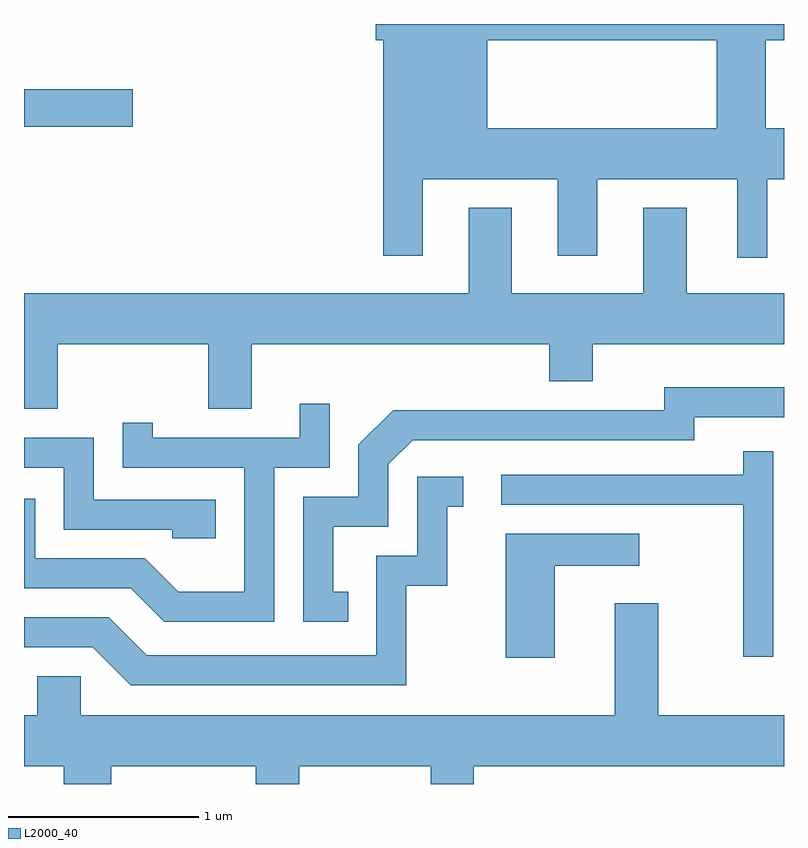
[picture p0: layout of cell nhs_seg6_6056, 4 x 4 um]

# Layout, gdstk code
import gdstk
lib = gdstk.Library(unit=1e-6, precision=1e-09)
def R(c, l, rs):  # rectangles x0, y0, x1, y1
    for r in rs: c.add(gdstk.rectangle(r[:2], r[2:], *l))
def P(c, l, *ps):  # polygons
    for p in ps: c.add(gdstk.Polygon(p, *l))
L2000_40 = (2000, 40)

nhs_seg6_6056 = lib.new_cell('nhs_seg6_6056')
R(nhs_seg6_6056, L2000_40, [(369.611,1555.621,370.184,1555.819)])
P(nhs_seg6_6056, L2000_40, [(371.709,1554.941),(371.709,1555.346),(372.421,1555.346),(372.421,1554.941),(372.629,1554.941),(372.629,1555.346),(373.366,1555.346),(373.366,1554.933),(373.524,1554.933),(373.524,1555.346),(373.611,1555.346),(373.611,1555.614),(373.514,1555.614),(373.514,1556.076),(373.611,1556.076),(373.611,1556.162),(371.461,1556.162),(371.461,1556.076),(371.501,1556.076),(371.501,1555.614),(372.049,1555.614),(372.049,1556.076),(373.256,1556.076),(373.256,1555.614),(372.049,1555.614),(371.501,1555.614),(371.501,1554.941)],
  [(369.789,1554.476),(370.581,1554.476),(370.581,1554.136),(370.809,1554.136),(370.809,1554.476),(372.376,1554.476),(372.376,1554.281),(372.604,1554.281),(372.604,1554.476),(373.611,1554.476),(373.611,1554.744),(373.099,1554.744),(373.099,1555.194),(372.871,1555.194),(372.871,1554.744),(372.179,1554.744),(372.179,1555.194),(371.951,1555.194),(371.951,1554.744),(369.611,1554.744),(369.611,1554.136),(369.789,1554.136)],
  [(371.318,1553.174),(371.239,1553.174),(371.239,1553.516),(371.529,1553.516),(371.529,1553.844),(371.657,1553.971),(373.139,1553.971),(373.139,1554.091),(373.611,1554.091),(373.611,1554.249),(372.981,1554.249),(372.981,1554.129),(371.554,1554.129),(371.371,1553.947),(371.371,1553.674),(371.081,1553.674),(371.081,1553.016),(371.318,1553.016)],
  [(370.929,1553.826),(371.219,1553.826),(371.219,1554.163),(371.061,1554.163),(371.061,1553.984),(370.289,1553.984),(370.289,1554.063),(370.131,1554.063),(370.131,1553.826),(370.771,1553.826),(370.771,1553.174),(370.422,1553.174),(370.247,1553.349),(369.669,1553.349),(369.669,1553.664),(369.611,1553.664),(369.611,1553.191),(370.174,1553.191),(370.349,1553.016),(370.929,1553.016)],
  [(370.619,1553.659),(369.979,1553.659),(369.979,1553.984),(369.611,1553.984),(369.611,1553.826),(369.821,1553.826),(369.821,1553.501),(370.391,1553.501),(370.391,1553.456),(370.619,1553.456)],
  [(373.554,1553.913),(373.396,1553.913),(373.396,1553.789),(372.123,1553.789),(372.123,1553.631),(373.396,1553.631),(373.396,1552.833),(373.554,1552.833)],
  [(371.624,1553.206),(371.839,1553.206),(371.839,1553.621),(371.923,1553.621),(371.923,1553.779),(371.681,1553.779),(371.681,1553.364),(371.466,1553.364),(371.466,1552.839),(370.257,1552.839),(370.057,1553.039),(369.611,1553.039),(369.611,1552.881),(369.974,1552.881),(370.174,1552.681),(371.624,1552.681)],
  [(372.404,1553.311),(372.848,1553.311),(372.848,1553.479),(372.146,1553.479),(372.146,1552.826),(372.404,1552.826)],
  [(370.069,1552.256),(370.831,1552.256),(370.831,1552.162),(371.059,1552.162),(371.059,1552.256),(371.751,1552.256),(371.751,1552.162),(371.979,1552.162),(371.979,1552.256),(373.611,1552.256),(373.611,1552.524),(372.949,1552.524),(372.949,1553.114),(372.721,1553.114),(372.721,1552.524),(369.909,1552.524),(369.909,1552.729),(369.681,1552.729),(369.681,1552.524),(369.611,1552.524),(369.611,1552.256),(369.821,1552.256),(369.821,1552.162),(370.069,1552.162)])

lib.write_gds('nhs_seg6_6056.gds')
